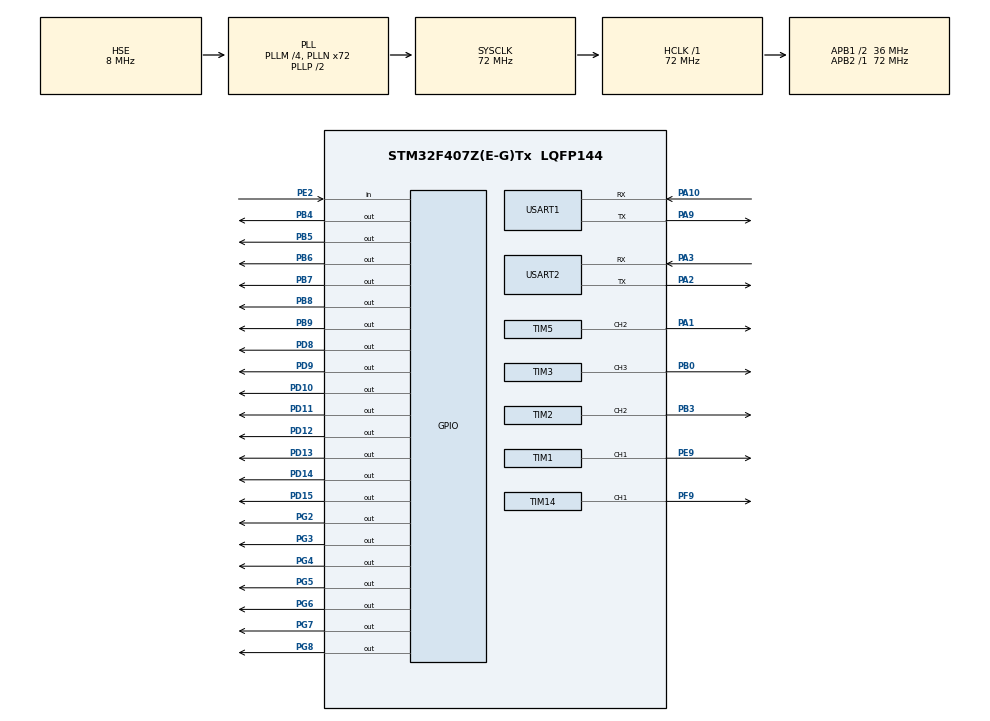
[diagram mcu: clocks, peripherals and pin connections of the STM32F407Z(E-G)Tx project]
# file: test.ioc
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Mcu.Family=STM32F4
Mcu.Name=STM32F407Z(E-G)Tx
Mcu.Package=LQFP144
NVIC.PriorityGroup=NVIC_PRIORITYGROUP_4
NVIC.TIM2_IRQn=true\:0\:0\:false\:false\:true\:true\:true\:true
NVIC.TIM3_IRQn=true\:0\:0\:false\:false\:true\:true\:true\:true
NVIC.TIM5_IRQn=true\:0\:0\:false\:false\:true\:true\:true\:true
NVIC.TIM8_TRG_COM_TIM14_IRQn=true\:0\:0\:false\:false\:true\:true\:true\:true
NVIC.USART1_IRQn=true\:0\:0\:false\:false\:true\:true\:true\:true
NVIC.USART2_IRQn=true\:1\:0\:true\:false\:true\:true\:true\:true
PA1.GPIO_Speed=GPIO_SPEED_FREQ_VERY_HIGH
PA1.Signal=S_TIM5_CH2
PA10.Mode=Asynchronous
PA10.Signal=USART1_RX
PA13.Mode=Serial_Wire
PA13.Signal=SYS_JTMS-SWDIO
PA14.Mode=Serial_Wire
PA14.Signal=SYS_JTCK-SWCLK
PA2.Mode=Asynchronous
PA2.Signal=USART2_TX
PA3.Mode=Asynchronous
PA3.Signal=USART2_RX
PA9.Mode=Asynchronous
PA9.Signal=USART1_TX
PB0.GPIO_Speed=GPIO_SPEED_FREQ_VERY_HIGH
PB0.Signal=S_TIM3_CH3
PB3.Signal=S_TIM2_CH2
PB4.GPIO_PuPd=GPIO_PULLDOWN
PB4.GPIO_Speed=GPIO_SPEED_FREQ_HIGH
PB4.PinState=GPIO_PIN_SET
PB4.Signal=GPIO_Output
PB5.GPIO_PuPd=GPIO_PULLDOWN
PB5.GPIO_Speed=GPIO_SPEED_FREQ_HIGH
PB5.PinState=GPIO_PIN_SET
PB5.Signal=GPIO_Output
PB6.GPIO_PuPd=GPIO_PULLDOWN
PB6.GPIO_Speed=GPIO_SPEED_FREQ_HIGH
PB6.PinState=GPIO_PIN_SET
PB6.Signal=GPIO_Output
PB7.GPIO_PuPd=GPIO_PULLDOWN
PB7.GPIO_Speed=GPIO_SPEED_FREQ_HIGH
PB7.PinState=GPIO_PIN_SET
PB7.Signal=GPIO_Output
PB8.GPIO_PuPd=GPIO_PULLDOWN
PB8.GPIO_Speed=GPIO_SPEED_FREQ_HIGH
PB8.PinState=GPIO_PIN_SET
PB8.Signal=GPIO_Output
PB9.GPIO_PuPd=GPIO_PULLDOWN
PB9.GPIO_Speed=GPIO_SPEED_FREQ_HIGH
PB9.PinState=GPIO_PIN_SET
PB9.Signal=GPIO_Output
PC14-OSC32_IN.Mode=LSE-External-Oscillator
PC14-OSC32_IN.Signal=RCC_OSC32_IN
PC15-OSC32_OUT.Mode=LSE-External-Oscillator
PC15-OSC32_OUT.Signal=RCC_OSC32_OUT
PD10.GPIO_ModeDefaultOutputPP=GPIO_MODE_OUTPUT_PP
PD10.GPIO_PuPd=GPIO_PULLDOWN
PD10.GPIO_Speed=GPIO_SPEED_FREQ_HIGH
PD10.PinState=GPIO_PIN_SET
PD10.Signal=GPIO_Output
PD11.GPIO_ModeDefaultOutputPP=GPIO_MODE_OUTPUT_PP
PD11.GPIO_PuPd=GPIO_PULLUP
PD11.GPIO_Speed=GPIO_SPEED_FREQ_HIGH
PD11.PinState=GPIO_PIN_SET
PD11.Signal=GPIO_Output
PD12.GPIO_ModeDefaultOutputPP=GPIO_MODE_OUTPUT_PP
PD12.GPIO_PuPd=GPIO_PULLDOWN
PD12.GPIO_Speed=GPIO_SPEED_FREQ_HIGH
PD12.PinState=GPIO_PIN_SET
PD12.Signal=GPIO_Output
PD13.GPIO_ModeDefaultOutputPP=GPIO_MODE_OUTPUT_PP
PD13.GPIO_PuPd=GPIO_PULLDOWN
PD13.GPIO_Speed=GPIO_SPEED_FREQ_HIGH
PD13.PinState=GPIO_PIN_SET
PD13.Signal=GPIO_Output
PD14.GPIO_PuPd=GPIO_PULLDOWN
PD14.GPIO_Speed=GPIO_SPEED_FREQ_HIGH
PD14.PinState=GPIO_PIN_SET
PD14.Signal=GPIO_Output
PD15.GPIO_PuPd=GPIO_PULLDOWN
PD15.GPIO_Speed=GPIO_SPEED_FREQ_HIGH
PD15.PinState=GPIO_PIN_SET
PD15.Signal=GPIO_Output
PD8.GPIO_ModeDefaultOutputPP=GPIO_MODE_OUTPUT_PP
PD8.GPIO_PuPd=GPIO_PULLDOWN
PD8.GPIO_Speed=GPIO_SPEED_FREQ_HIGH
PD8.PinState=GPIO_PIN_SET
PD8.Signal=GPIO_Output
PD9.GPIO_ModeDefaultOutputPP=GPIO_MODE_OUTPUT_PP
PD9.GPIO_PuPd=GPIO_PULLDOWN
PD9.GPIO_Speed=GPIO_SPEED_FREQ_HIGH
PD9.PinState=GPIO_PIN_SET
PD9.Signal=GPIO_Output
PE2.GPIO_PuPd=GPIO_NOPULL
PE2.Signal=GPIO_Input
PE9.Signal=S_TIM1_CH1
PF9.GPIO_PuPd=GPIO_PULLUP
PF9.GPIO_Speed=GPIO_SPEED_FREQ_VERY_HIGH
PF9.Signal=S_TIM14_CH1
PG2.GPIO_PuPd=GPIO_PULLDOWN
PG2.GPIO_Speed=GPIO_SPEED_FREQ_HIGH
PG2.PinState=GPIO_PIN_SET
PG2.Signal=GPIO_Output
PG3.GPIO_ModeDefaultOutputPP=GPIO_MODE_OUTPUT_PP
PG3.GPIO_PuPd=GPIO_PULLDOWN
PG3.GPIO_Speed=GPIO_SPEED_FREQ_HIGH
PG3.PinState=GPIO_PIN_SET
PG3.Signal=GPIO_Output
PG4.GPIO_ModeDefaultOutputPP=GPIO_MODE_OUTPUT_PP
PG4.GPIO_PuPd=GPIO_PULLDOWN
PG4.GPIO_Speed=GPIO_SPEED_FREQ_HIGH
PG4.PinState=GPIO_PIN_SET
PG4.Signal=GPIO_Output
PG5.GPIO_ModeDefaultOutputPP=GPIO_MODE_OUTPUT_PP
PG5.GPIO_PuPd=GPIO_PULLDOWN
PG5.GPIO_Speed=GPIO_SPEED_FREQ_HIGH
PG5.PinState=GPIO_PIN_SET
PG5.Signal=GPIO_Output
PG6.GPIO_PuPd=GPIO_PULLDOWN
PG6.GPIO_Speed=GPIO_SPEED_FREQ_HIGH
PG6.PinState=GPIO_PIN_SET
PG6.Signal=GPIO_Output
PG7.GPIO_PuPd=GPIO_PULLUP
PG7.GPIO_Speed=GPIO_SPEED_FREQ_HIGH
PG7.PinState=GPIO_PIN_SET
PG7.Signal=GPIO_Output
PG8.GPIO_ModeDefaultOutputPP=GPIO_MODE_OUTPUT_PP
PG8.GPIO_PuPd=GPIO_PULLUP
PG8.GPIO_Speed=GPIO_SPEED_FREQ_HIGH
PG8.PinState=GPIO_PIN_SET
PG8.Signal=GPIO_Output
PH0-OSC_IN.Mode=HSE-External-Oscillator
PH0-OSC_IN.Signal=RCC_OSC_IN
PH1-OSC_OUT.Mode=HSE-External-Oscillator
PH1-OSC_OUT.Signal=RCC_OSC_OUT
ProjectManager.HeapSize=0x200
ProjectManager.StackSize=0x400
ProjectManager.TargetToolchain=MDK-ARM V5
RCC.48MHZClocksFreq_Value=36000000
RCC.AHBFreq_Value=72000000
RCC.APB1CLKDivider=RCC_HCLK_DIV2
RCC.APB1Freq_Value=36000000
RCC.APB1TimFreq_Value=72000000
RCC.APB2Freq_Value=72000000
RCC.APB2TimFreq_Value=72000000
RCC.CortexFreq_Value=72000000
RCC.HCLKFreq_Value=72000000
RCC.HSE_VALUE=8000000
RCC.HSI_VALUE=16000000
RCC.PLLM=4
RCC.PLLN=72
RCC.PLLSourceVirtual=RCC_PLLSOURCE_HSE
RCC.SYSCLKFreq_VALUE=72000000
RCC.SYSCLKSource=RCC_SYSCLKSOURCE_PLLCLK
RCC.VCOOutputFreq_Value=144000000
SH.S_TIM14_CH1.0=TIM14_CH1,PWM Generation1 CH1
SH.S_TIM1_CH1.0=TIM1_CH1,PWM Generation1 CH1
SH.S_TIM2_CH2.0=TIM2_CH2,PWM Generation2 CH2
SH.S_TIM3_CH3.0=TIM3_CH3,PWM Generation3 CH3
SH.S_TIM5_CH2.0=TIM5_CH2,PWM Generation2 CH2
TIM1.Channel-PWM\ Generation1\ CH1=TIM_CHANNEL_1
TIM14.Channel=TIM_CHANNEL_1
TIM14.Period=500-1
TIM14.Prescaler=47
TIM2.Channel-PWM\ Generation2\ CH2=TIM_CHANNEL_2
TIM2.Period=19999
TIM2.Prescaler=83
TIM3.Channel-PWM\ Generation3\ CH3=TIM_CHANNEL_3
TIM3.Period=999
TIM3.Prescaler=83
TIM5.Channel-PWM\ Generation2\ CH2=TIM_CHANNEL_2
TIM5.Period=19999
TIM5.Prescaler=71
USART1.VirtualMode=VM_ASYNC
USART2.VirtualMode=VM_ASYNC
VP_TIM14_VS_ClockSourceINT.Mode=Enable_Timer
board=custom

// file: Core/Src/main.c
/* USER CODE BEGIN Header */
/**
  ******************************************************************************
  * @file           : main.c
  * @brief          : Main program body
  ******************************************************************************
  * @attention
  *
  * <h2><center>&copy; Copyright (c) 2021 STMicroelectronics.
  * All rights reserved.</center></h2>
  *
  * This software component is licensed by ST under BSD 3-Clause license,
  * the "License"; You may not use this file except in compliance with the
  * License. You may obtain a copy of the License at:
  *                        opensource.org/licenses/BSD-3-Clause
  *
  ******************************************************************************
  */
/* USER CODE END Header */
#include "main.h"
#include "tim.h"
#include "usart.h"
#include "gpio.h"

void SystemClock_Config(void);

/* USER CODE BEGIN 0 */
uint8_t Rxbuffer[35];
uint8_t jiexi[35];
uint8_t  c1,c2,c3,c4,c5,c6,c7,c8,c9,c10;

/* USER CODE END 0 */

int main(void)
{
  /* USER CODE BEGIN 1 */
		int i=1;
  /* USER CODE END 1 */

  /* MCU Configuration--------------------------------------------------------*/

  /* Reset of all peripherals, Initializes the Flash interface and the Systick. */
  HAL_Init();

  /* USER CODE BEGIN Init */
uint16_t ledrpwmval = 0;
  /* USER CODE END Init */

  /* Configure the system clock */
  SystemClock_Config();

  /* Initialize all configured peripherals */
  MX_GPIO_Init();
  MX_USART1_UART_Init();
  MX_USART2_UART_Init();
  MX_TIM3_Init();
  MX_TIM14_Init();
  MX_TIM2_Init();
  MX_TIM1_Init();
  MX_TIM5_Init();
  /* USER CODE BEGIN 2 */
HAL_TIM_PWM_Start(&htim5,TIM_CHANNEL_2);//PB10
HAL_TIM_PWM_Start(&htim14,TIM_CHANNEL_1); //PF9     ------> TIM14_CH1
HAL_TIM_PWM_Start(&htim2,TIM_CHANNEL_2); //PF9
  /* USER CODE END 2 */

  /* Infinite loop */
  /* USER CODE BEGIN WHILE */
  while (1)
  {
		HAL_UART_Receive_IT(&huart2,(uint8_t*)Rxbuffer,35);
		jiexi[0]=Rxbuffer[1];   //对应右手横向摇杆0-3，4，5-7
    jiexi[1]=Rxbuffer[3];   //对应右手纵向摇杆0-3，4，5-7
		jiexi[2]=Rxbuffer[5];   //对应左手油门 0-3，4，5-7
		jiexi[3]=Rxbuffer[7];   //对应左手横向摇杆0-3，4，5-7
		jiexi[4]=Rxbuffer[9];   //对应左手旋钮0-7
		jiexi[5]=Rxbuffer[11];  //对应右手旋钮0-7
		jiexi[6]=Rxbuffer[13];  //左一两段开关0，7
		jiexi[7]=Rxbuffer[15];  //左二两段开关0，7
		jiexi[8]=Rxbuffer[17];  //右二三段开关0，4，7
		jiexi[9]=Rxbuffer[19];  //右一两段开关0，7
		HAL_UART_Transmit(&huart1,&jiexi[0],2,0xFFFF);
		if(jiexi[0] == 1 | jiexi[0]==7 | jiexi[1]==1 | jiexi[1] ==7 |jiexi[3]==1 | jiexi[3]==7){
			HAL_GPIO_WritePin(GPIOD,GPIO_PIN_2,GPIO_PIN_SET);
		}
		else{
		HAL_GPIO_WritePin(GPIOD,GPIO_PIN_2,GPIO_PIN_RESET);
		}
		if(HAL_GPIO_ReadPin(GPIOE,GPIO_PIN_2)==GPIO_PIN_SET){
			i=1;
		}
		if(HAL_GPIO_ReadPin(GPIOE,GPIO_PIN_2)==GPIO_PIN_RESET){
			i=0;
		}
    if(jiexi[0]>5){
			//HAL_UART_Transmit(&huart1,"11",2,0xFFFF);
		HAL_GPIO_WritePin(GPIOD,GPIO_PIN_12,GPIO_PIN_RESET);
		}
		if(jiexi[0]<6&&jiexi[0]>2){
			//HAL_UART_Transmit(&huart1,"22",2,0xFFFF);
			HAL_GPIO_WritePin(GPIOD,GPIO_PIN_12,GPIO_PIN_SET);
			HAL_GPIO_WritePin(GPIOD,GPIO_PIN_13,GPIO_PIN_SET);
		}
		if(jiexi[0]<3){
			//HAL_UART_Transmit(&huart1,"33",2,0xFFFF);
			HAL_GPIO_WritePin(GPIOD,GPIO_PIN_13,GPIO_PIN_RESET);
		}
		//left and right

		if(jiexi[1]>5){
			HAL_GPIO_WritePin(GPIOD,GPIO_PIN_14,GPIO_PIN_RESET);
		}
		if(jiexi[1]<6&&jiexi[1]>2){
			HAL_GPIO_WritePin(GPIOD,GPIO_PIN_14,GPIO_PIN_SET);
	  	HAL_GPIO_WritePin(GPIOD,GPIO_PIN_15,GPIO_PIN_RESET);
		}
		if(jiexi[1]<3){
			HAL_GPIO_WritePin(GPIOD,GPIO_PIN_15,GPIO_PIN_SET);
		}//down or up

	if(jiexi[3]>5){
			HAL_GPIO_WritePin(GPIOG,GPIO_PIN_7,GPIO_PIN_RESET);//这里初始状态时拉高，所以我设置了拉低为启动

		}
		if(jiexi[3]<6&&jiexi[3]>2){
						HAL_GPIO_WritePin(GPIOG,GPIO_PIN_7,GPIO_PIN_SET);
            HAL_GPIO_WritePin(GPIOG,GPIO_PIN_8,GPIO_PIN_SET);
		}
		if(jiexi[3]<3){
						HAL_GPIO_WritePin(GPIOG,GPIO_PIN_8,GPIO_PIN_RESET);

		}  //left translation or right translation

if(jiexi[4]<2){
HAL_GPIO_WritePin(GPIOB,GPIO_PIN_6,GPIO_PIN_RESET);
HAL_GPIO_WritePin(GPIOB,GPIO_PIN_7,GPIO_PIN_SET);
}
if(jiexi[4]>1 && jiexi[4]<6){
HAL_GPIO_WritePin(GPIOB,GPIO_PIN_6,GPIO_PIN_SET);
HAL_GPIO_WritePin(GPIOB,GPIO_PIN_7,GPIO_PIN_SET);
}
if(jiexi[4]>5){
	HAL_GPIO_WritePin(GPIOB,GPIO_PIN_6,GPIO_PIN_SET);
HAL_GPIO_WritePin(GPIOB,GPIO_PIN_7,GPIO_PIN_RESET);
}
if(jiexi[5]<2){
HAL_GPIO_WritePin(GPIOB,GPIO_PIN_4,GPIO_PIN_RESET);
HAL_GPIO_WritePin(GPIOB,GPIO_PIN_5,GPIO_PIN_SET);
}
if(HAL_GPIO_ReadPin(GPIOE,GPIO_PIN_2)==GPIO_PIN_SET){
if(jiexi[5]>1 && jiexi[5]<6){
HAL_GPIO_WritePin(GPIOB,GPIO_PIN_4,GPIO_PIN_SET);
HAL_GPIO_WritePin(GPIOB,GPIO_PIN_5,GPIO_PIN_SET);
}
if(jiexi[5]>5){
	HAL_GPIO_WritePin(GPIOB,GPIO_PIN_4,GPIO_PIN_SET);
HAL_GPIO_WritePin(GPIOB,GPIO_PIN_5,GPIO_PIN_RESET);
}
}
if(HAL_GPIO_ReadPin(GPIOE,GPIO_PIN_2)==GPIO_PIN_RESET){
	if(jiexi[5]>3){
HAL_GPIO_WritePin(GPIOB,GPIO_PIN_4,GPIO_PIN_SET);
HAL_GPIO_WritePin(GPIOB,GPIO_PIN_5,GPIO_PIN_SET);
}

if(jiexi[5]<2){
HAL_GPIO_WritePin(GPIOB,GPIO_PIN_4,GPIO_PIN_RESET);
HAL_GPIO_WritePin(GPIOB,GPIO_PIN_5,GPIO_PIN_SET);
}}

if(jiexi[9]==0)
{
	__HAL_TIM_SetCompare(&htim3, TIM_CHANNEL_3, 200);//PB9//PB0
}
if(jiexi[9]==7)
{
	__HAL_TIM_SetCompare(&htim3, TIM_CHANNEL_3, 0);
}
if(jiexi[2]==0 || jiexi[2]==1)//PB10
{
	__HAL_TIM_SetCompare(&htim5, TIM_CHANNEL_2, 1000);//PA1
}

if(jiexi[2]==2 || jiexi[2] ==3)//PB10
{
	__HAL_TIM_SetCompare(&htim5, TIM_CHANNEL_2, 1250);//PA1
}

if(jiexi[2]==4 || jiexi[2]==5)//PB10
{
	__HAL_TIM_SetCompare(&htim5, TIM_CHANNEL_2, 1370);//PA1
}

if(jiexi[2]==6)
{
	__HAL_TIM_SetCompare(&htim5, TIM_CHANNEL_2, 1600);

}
if(jiexi[2]==7){
	__HAL_TIM_SetCompare(&htim5, TIM_CHANNEL_2, 1700);
}

if(jiexi[7]==0){
	__HAL_TIM_SetCompare(&htim2, TIM_CHANNEL_2, 500);
}
if(jiexi[7]==7){
	__HAL_TIM_SetCompare(&htim2, TIM_CHANNEL_2, 1800);
}
if(jiexi[8]==0)//PG2 bujin  PB0 PWM
{
	HAL_GPIO_WritePin(GPIOG,GPIO_PIN_2,GPIO_PIN_SET);
	HAL_TIM_PWM_Start(&htim3,TIM_CHANNEL_3);
}
if(jiexi[8]==4)
{
	HAL_TIM_PWM_Stop(&htim3,TIM_CHANNEL_3);
}
if(jiexi[8]==7)
{
	HAL_GPIO_WritePin(GPIOG,GPIO_PIN_2,GPIO_PIN_RESET);
	HAL_TIM_PWM_Start(&htim3,TIM_CHANNEL_3);
}
	}
}
    /* USER CODE END WHILE */

void SystemClock_Config(void)
{
  RCC_OscInitTypeDef RCC_OscInitStruct = {0};
  RCC_ClkInitTypeDef RCC_ClkInitStruct = {0};

  /** Configure the main internal regulator output voltage
  */
  __HAL_RCC_PWR_CLK_ENABLE();
  __HAL_PWR_VOLTAGESCALING_CONFIG(PWR_REGULATOR_VOLTAGE_SCALE1);

  /** Initializes the RCC Oscillators according to the specified parameters
  * in the RCC_OscInitTypeDef structure.
  */
  RCC_OscInitStruct.OscillatorType = RCC_OSCILLATORTYPE_HSE;
  RCC_OscInitStruct.HSEState = RCC_HSE_ON;
  RCC_OscInitStruct.PLL.PLLState = RCC_PLL_ON;
  RCC_OscInitStruct.PLL.PLLSource = RCC_PLLSOURCE_HSE;
  RCC_OscInitStruct.PLL.PLLM = 4;
  RCC_OscInitStruct.PLL.PLLN = 72;
  RCC_OscInitStruct.PLL.PLLP = RCC_PLLP_DIV2;
  RCC_OscInitStruct.PLL.PLLQ = 4;
  if (HAL_RCC_OscConfig(&RCC_OscInitStruct) != HAL_OK)
  {
    Error_Handler();
  }

  /** Initializes the CPU, AHB and APB buses clocks
  */
  RCC_ClkInitStruct.ClockType = RCC_CLOCKTYPE_HCLK|RCC_CLOCKTYPE_SYSCLK
                              |RCC_CLOCKTYPE_PCLK1|RCC_CLOCKTYPE_PCLK2;
  RCC_ClkInitStruct.SYSCLKSource = RCC_SYSCLKSOURCE_PLLCLK;
  RCC_ClkInitStruct.AHBCLKDivider = RCC_SYSCLK_DIV1;
  RCC_ClkInitStruct.APB1CLKDivider = RCC_HCLK_DIV2;
  RCC_ClkInitStruct.APB2CLKDivider = RCC_HCLK_DIV1;

  if (HAL_RCC_ClockConfig(&RCC_ClkInitStruct, FLASH_LATENCY_2) != HAL_OK)
  {
    Error_Handler();
  }
}

void Error_Handler(void)
{
  __disable_irq();
  while (1)
  {
  }
}
